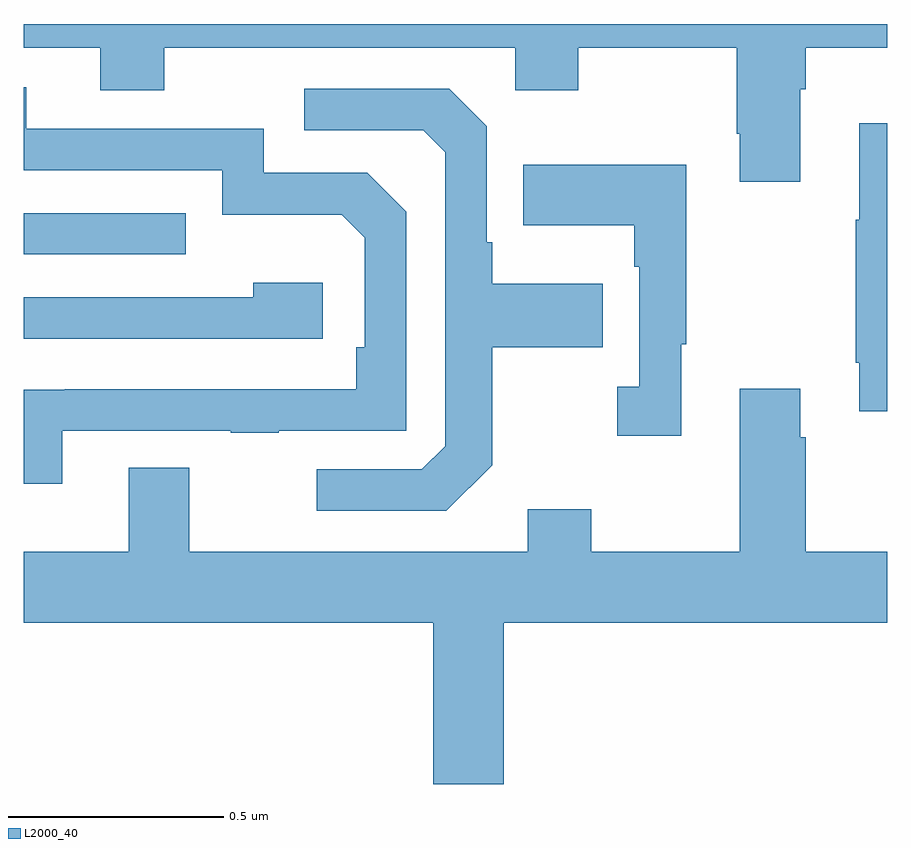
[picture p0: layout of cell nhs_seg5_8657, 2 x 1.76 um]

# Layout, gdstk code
import gdstk
lib = gdstk.Library(unit=1e-6, precision=1e-09)
def R(c, l, rs):  # rectangles x0, y0, x1, y1
    for r in rs: c.add(gdstk.rectangle(r[:2], r[2:], *l))
def P(c, l, *ps):  # polygons
    for p in ps: c.add(gdstk.Polygon(p, *l))
L2000_40 = (2000, 40)

nhs_seg5_8657 = lib.new_cell('nhs_seg5_8657')
R(nhs_seg5_8657, L2000_40, [(224,872.265,224.375,872.361)])
P(nhs_seg5_8657, L2000_40, [(225.799,872.648),(225.812,872.648),(225.812,872.744),(226,872.744),(226,872.799),(224,872.799),(224,872.744),(224.177,872.744),(224.177,872.645),(224.325,872.645),(224.325,872.744),(225.138,872.744),(225.138,872.645),(225.285,872.645),(225.285,872.744),(225.652,872.744),(225.652,872.545),(225.659,872.545),(225.659,872.433),(225.799,872.433)],
  [(224.089,871.857),(224.479,871.857),(224.479,871.852),(224.591,871.852),(224.591,871.857),(224.886,871.857),(224.886,872.364),(224.796,872.454),(224.556,872.454),(224.556,872.556),(224.005,872.556),(224.005,872.652),(224,872.652),(224,872.46),(224.46,872.46),(224.46,872.357),(224.737,872.357),(224.79,872.304),(224.79,872.05),(224.77,872.05),(224.77,871.953),(224.095,871.953),(224.095,871.952),(224,871.952),(224,871.734),(224.089,871.734)],
  [(225.085,871.777),(225.085,872.05),(225.341,872.05),(225.341,872.197),(225.085,872.197),(225.085,872.293),(225.072,872.293),(225.072,872.562),(224.985,872.649),(224.649,872.649),(224.649,872.553),(224.925,872.553),(224.976,872.502),(224.976,871.821),(224.922,871.767),(224.679,871.767),(224.679,871.671),(224.979,871.671)],
  [(226,872.569),(225.935,872.569),(225.935,872.345),(225.928,872.345),(225.928,872.014),(225.935,872.014),(225.935,871.902),(226,871.902)],
  [(225.523,872.057),(225.535,872.057),(225.535,872.473),(225.157,872.473),(225.157,872.333),(225.414,872.333),(225.414,872.237),(225.426,872.237),(225.426,871.958),(225.375,871.958),(225.375,871.845),(225.523,871.845)],
  [(224.692,872.2),(224.531,872.2),(224.531,872.166),(224,872.166),(224,872.07),(224.692,872.07)],
  [(225.112,871.412),(226,871.412),(226,871.576),(225.812,871.576),(225.812,871.841),(225.799,871.841),(225.799,871.954),(225.659,871.954),(225.659,871.576),(225.315,871.576),(225.315,871.675),(225.167,871.675),(225.167,871.576),(224.383,871.576),(224.383,871.771),(224.243,871.771),(224.243,871.576),(224,871.576),(224,871.412),(224.948,871.412),(224.948,871.038),(225.112,871.038)])

lib.write_gds('nhs_seg5_8657.gds')
